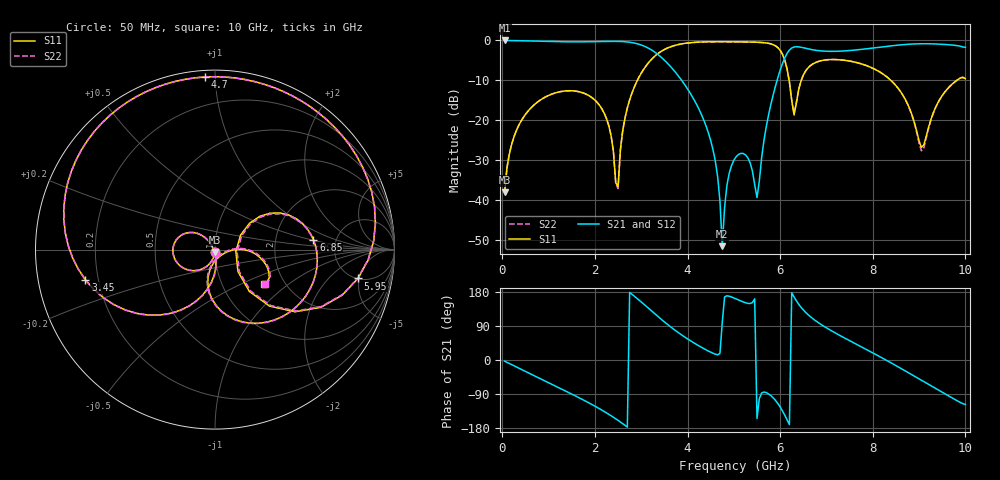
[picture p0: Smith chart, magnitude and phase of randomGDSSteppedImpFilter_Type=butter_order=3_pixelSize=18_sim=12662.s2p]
! freq	dB(S11)	phase(S11)	dB(S12)	phase(S12)
!  dB(S21)	phase(S21)	dB(S22)	phase(S22)
!S-par simulation data
#  GHz  S  DB  R 50
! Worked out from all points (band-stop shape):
!   200 points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, 50 MHz to 10 GHz, reference 50 ohm
!   highest |S21| = -0.01 dB at 50 MHz (marker M1); lowest = -51.5 dB at 4.75 GHz (marker M2)
!   |S21| within 3 dB of the highest: start of sweep to 3.302 GHz; 6.163 GHz to end of sweep
!   lowest |S11| = -38.0 dB at 50 MHz (marker M3), VSWR 1.03, Z = 49.9 - j1.26 ohm
!   |S11| at or under -10 dB: start of sweep to 2.917 GHz; 6.194 GHz to 6.455 GHz (261.8 MHz wide, 4.14 % of centre); 8.392 GHz to 9.813 GHz (1.422 GHz wide, 15.6 % of centre)
!   |S22| runs from -38.0 to -0.3 dB; largest |S21 - S12| = 0
!   S11 on the Smith chart (normalised r, x): 50 MHz: 1.00, -0.03; 3.45 GHz: 0.15, -0.11; 4.7 GHz: 0.04, +0.94; 5.95 GHz: 5.05, -4.78; 6.85 GHz: 3.36, +0.54; 10 GHz: 1.57, -0.67
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0.05  -37.97 -92.6  -0.01 -3.1  -0.01 -3.1  -37.97 -92.6
0.2  -26.07 -102.1  -0.03 -12.1  -0.03 -12.1  -26.07 -102.1
0.55  -17.77 -123.6  -0.12 -33.1  -0.12 -33.1  -17.77 -123.6
1.75  -13.16 164.5  -0.35 -105.4  -0.35 -105.4  -13.16 164.3
2.25  -19.57 132.5  -0.24 -139.5  -0.24 -139.5  -19.58 131.9
2.5  -36.63 -102.0  -0.24 -159.3  -0.24 -159.3  -37.05 -97.3
2.75  -14.87 -96.0  -0.45 178.3  -0.45 178.3  -14.88 -95.6
3.4  -2.97 -161.7  -3.89 110.7  -3.89 110.7  -2.98 -161.6
3.45  -2.60 -166.8  -4.40 105.6  -4.40 105.6  -2.60 -166.8
4.35  -0.37 117.1  -19.91 30.1  -19.91 30.1  -0.37 117.1
4.7  -0.32 93.3  -40.20 17.3  -40.20 17.3  -0.32 93.3
4.75  -0.32 89.9  -51.49 99.3  -51.49 99.3  -0.32 90.0
4.85  -0.33 83.3  -36.28 169.5  -36.28 169.5  -0.33 83.4
5.05  -0.35 70.1  -29.11 161.1  -29.11 161.1  -0.35 70.1
5.5  -0.45 37.8  -39.34 -154.3  -39.34 -154.3  -0.45 37.9
5.95  -1.80 -11.4  -9.34 -114.8  -9.34 -114.8  -1.79 -11.1
6.3  -18.66 -5.3  -1.65 166.3  -1.65 166.3  -18.15 -5.6
6.7  -5.92 17.2  -2.34 109.6  -2.34 109.6  -5.91 16.6
6.85  -5.17 5.8  -2.58 96.4  -2.58 96.4  -5.17 5.4
8.35  -9.56 -85.7  -1.41 -4.5  -1.41 -4.5  -9.57 -86.3
9.05  -26.74 -59.6  -0.83 -53.6  -0.83 -53.6  -27.62 -60.7
10  -9.58 -35.3  -1.70 -117.2  -1.70 -117.2  -9.46 -34.3
